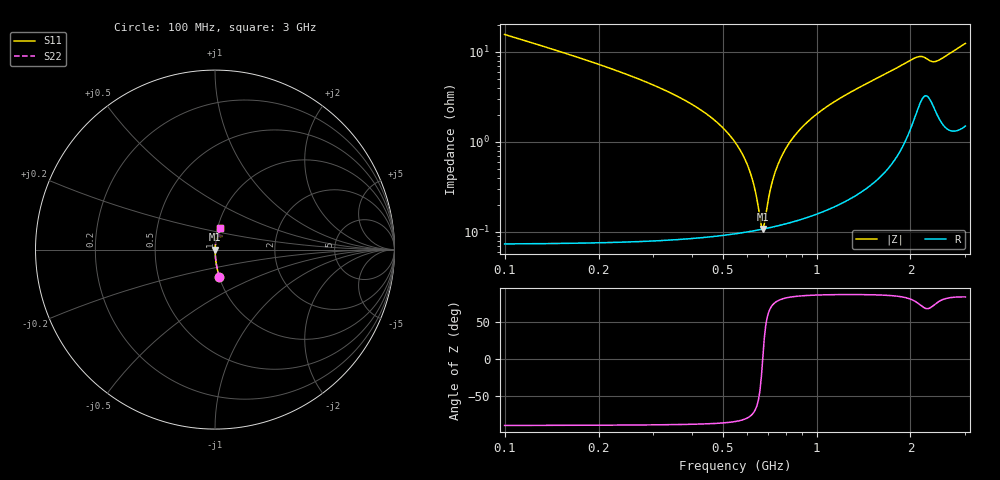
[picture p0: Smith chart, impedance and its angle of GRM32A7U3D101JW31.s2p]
!Murata Part Number: GRM32A7U3D101JW31
!These Parameters are Measured in Series Mode Connection
!Data Generated on Mar 30, 2021
!  o--ll--o
!Port1  Port2
!  o------o
!Operation Temp=25[degC], DC Bias Voltage=0[V]
!Freq. Start=100[MHz] Stop=3[GHz] 401[Steps]
# Hz S RI R 50
!Freq.(Hz) S11(Real) S11(Imag) S21(Real) S21(Imag) S12(Real) S12(Imag) S22(Real) S22(Imag)
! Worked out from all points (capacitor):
!   401 points, 100 MHz to 3 GHz, reference 50 ohm
!   read as one part in series: C = 99.9 pF near 114.5 MHz
!   lowest |Z| = 107 mohm at 672.8 MHz (marker M1)
!   series resonance near 672 MHz, so ESL is about 560 pH
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1e8  0.0243 -0.1518  0.9757 0.1518  0.9757 0.1518  0.0243 -0.1518
2.0875e8  0.00549 -0.0686  0.9945 0.0686  0.9945 0.0686  0.00549 -0.0686
4.77e8  0.00117 -0.0167  0.9988 0.0167  0.9988 0.0167  0.00117 -0.0167
5.4225e8  0.00105 -0.0103  0.9989 0.0103  0.9989 0.0103  0.00105 -0.0103
5.8575e8  0.00103 -0.00661  0.999 0.00661  0.999 0.00661  0.00103 -0.00661
6.22e8  0.00103 -0.00372  0.999 0.00372  0.999 0.00372  0.00103 -0.00372
6.5825e8  0.00106 -0.000998  0.9989 0.000998  0.9989 0.000998  0.00106 -0.000998
6.7275e8  0.00107 5.05e-05  0.9989 -5.05e-05  0.9989 -5.05e-05  0.00107 5.05e-05
6.8725e8  0.00109 0.00108  0.9989 -0.00108  0.9989 -0.00108  0.00109 0.00108
7.09e8  0.00112 0.00259  0.9989 -0.00259  0.9989 -0.00259  0.00112 0.00259
7.3075e8  0.00115 0.00405  0.9988 -0.00405  0.9988 -0.00405  0.00115 0.00405
7.5975e8  0.00121 0.00595  0.9988 -0.00595  0.9988 -0.00595  0.00121 0.00595
7.96e8  0.00129 0.00826  0.9987 -0.00826  0.9987 -0.00826  0.00129 0.00826
9.0475e8  0.00161 0.0148  0.9984 -0.0148  0.9984 -0.0148  0.00161 0.0148
1.0715e9  0.0023 0.024  0.9977 -0.024  0.9977 -0.024  0.0023 0.024
1.2745e9  0.0035 0.0347  0.9965 -0.0347  0.9965 -0.0347  0.0035 0.0347
1.55e9  0.00613 0.0495  0.9939 -0.0495  0.9939 -0.0495  0.00613 0.0495
2.03575e9  0.0223 0.0785  0.9777 -0.0785  0.9777 -0.0785  0.0223 0.0785
2.16625e9  0.0343 0.0788  0.9657 -0.0788  0.9657 -0.0788  0.0343 0.0788
2.36925e9  0.029 0.0697  0.971 -0.0697  0.971 -0.0697  0.029 0.0697
2.5215e9  0.0223 0.0795  0.9777 -0.0795  0.9777 -0.0795  0.0223 0.0795
3e9  0.029 0.1177  0.971 -0.1177  0.971 -0.1177  0.029 0.1177
